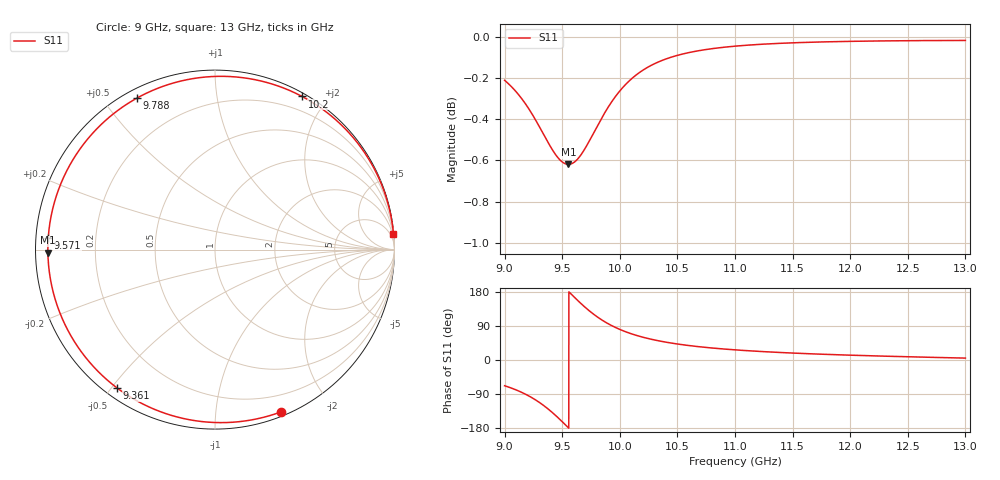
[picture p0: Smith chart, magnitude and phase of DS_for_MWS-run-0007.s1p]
! TOUCHSTONE file generated by CST DESIGN STUDIO
! Date and time: Tue Feb  4 15:46:11 2025
! Project name: C:\Work\MatlabApps\UnitCellOptimizationMatlab\CST\unitcell.cst
! Tree item: Tasks\Sweep1\SPara1\S-Parameters
! Header version: 2024
! Port assignment regex: !\s*Touchstone port\s*([0-9]+)\s*=\s*(CST MWS port|CST DES external port|CST DES block port)\s*(.+)\s* \(\"(.*)\"\)(\s*mode\s*([0-9]+))?.*
! Touchstone port assignment:
! Touchstone port 1 = CST DES external port 1 ("")
# GHz S MA R 50
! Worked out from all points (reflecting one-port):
!   4001 points, 9 GHz to 13 GHz, reference 50 ohm
!   lowest |S11| = -0.6 dB at 9.554 GHz (marker M1), VSWR 28.08, Z = 1.78 - j0.471 ohm
!   phase of S11 starts at -68 deg and turns -287 deg over the sweep
!   S11 on the Smith chart (normalised r, x): 9 GHz: 0.04, -1.48; 9.361 GHz: 0.04, -0.52; 9.571 GHz: 0.04, +0.04; 9.788 GHz: 0.04, +0.61; 10.2 GHz: 0.04, +1.72; 13 GHz: 0, +23
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9  0.9761 -67.9
9.039  0.9739 -71.9
9.104  0.9696 -79.5
9.215  0.9602 -95.7
9.292  0.9522 -109.9
9.361  0.9445 -125.2
9.428  0.9376 -142.3
9.5  0.9325 -162.7
9.554  0.9312 -178.9
9.571  0.9314 175.9
9.626  0.9335 159.5
9.686  0.9383 142.6
9.737  0.9437 129.3
9.788  0.9495 117.3
9.834  0.9547 107.6
9.883  0.9599 98.5
9.937  0.9651 89.6
10  0.9703 80.7
10.094  0.9765 69.8
10.197  0.9815 60.4
10.336  0.9862 50.7
10.5  0.9898 42.2
10.721  0.9928 34.0
11  0.9949 26.8
11.5  0.9968 18.3
12  0.9976 12.7
12.5  0.998 8.5
13  0.9981 5.0
